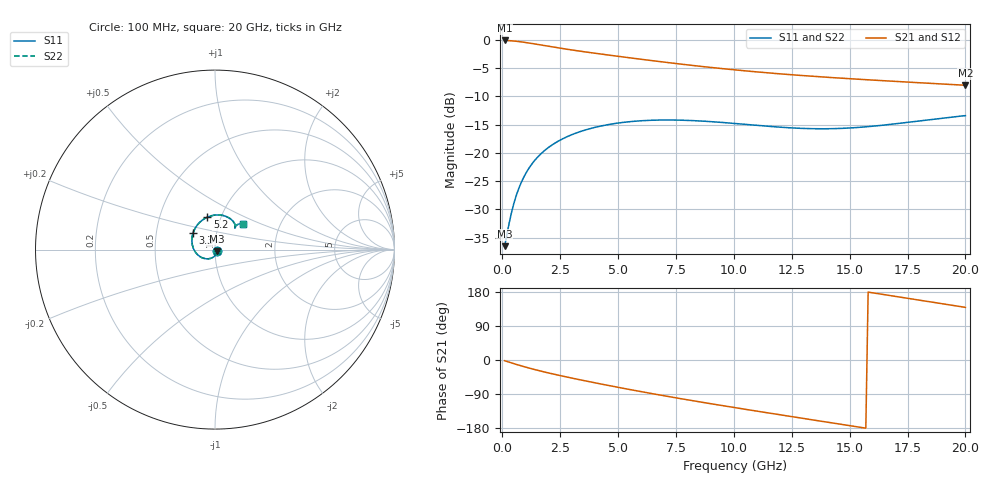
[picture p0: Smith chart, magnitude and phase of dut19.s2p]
! Created with skrf 1.9.0 (http://scikit-rf.org).
# GHz S RI R 50.0
!freq ReS11 ImS11 ReS21 ImS21 ReS12 ImS12 ReS22 ImS22
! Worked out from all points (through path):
!   200 points, 100 MHz to 20 GHz, reference 50 ohm
!   highest |S21| = -0.12 dB at 100 MHz (marker M1); lowest = -8.0 dB at 20 GHz (marker M2)
!   group delay of S21, straight-line fit = 29.1 ps
!   lowest |S11| = -36.5 dB at 100 MHz (marker M3), VSWR 1.03, Z = 51.3 - j0.803 ohm
!   |S11| at or under -10 dB: start of sweep to end of sweep
!   |S22| runs from -36.5 to -13.4 dB; largest |S21 - S12| = 2.4e-15
!   S11 on the Smith chart (normalised r, x): 100 MHz: 1.03, -0.02; 3.3 GHz: 0.77, +0.14; 5.2 GHz: 0.86, +0.32; 20 GHz: 1.31, +0.39
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0.1  0.0127 -0.00783  0.9856 -0.0337  0.9856 -0.0337  0.0127 -0.00783
0.4  0.00347 -0.0296  0.9701 -0.1323  0.9701 -0.1323  0.00347 -0.0296
0.6  -0.00824 -0.0409  0.9509 -0.1939  0.9509 -0.1939  -0.00824 -0.0409
0.8  -0.0231 -0.0484  0.926 -0.251  0.926 -0.251  -0.0231 -0.0484
1.1  -0.0482 -0.0513  0.8812 -0.3271  0.8812 -0.3271  -0.0482 -0.0513
1.5  -0.0808 -0.0408  0.8131 -0.4113  0.8131 -0.4113  -0.0808 -0.0408
2  -0.1113 -0.011  0.7236 -0.4927  0.7236 -0.4927  -0.1113 -0.011
2.6  -0.1279 0.0359  0.6166 -0.5647  0.6166 -0.5647  -0.1279 0.0359
3.3  -0.1229 0.0903  0.4952 -0.6231  0.4952 -0.6231  -0.1229 0.0903
3.5  -0.1178 0.1043  0.4613 -0.6356  0.4613 -0.6356  -0.1178 0.1043
4.3  -0.0867 0.1501  0.3291 -0.6692  0.3291 -0.6692  -0.0867 0.1501
5.2  -0.0418 0.181  0.1893 -0.6794  0.1893 -0.6794  -0.0418 0.181
6  -0.00165 0.1922  0.0756 -0.6678  0.0756 -0.6678  -0.00165 0.1922
6.8  0.0339 0.192  -0.0264 -0.6407  -0.0264 -0.6407  0.0339 0.192
8.4  0.0843 0.1726  -0.1932 -0.5544  -0.1932 -0.5544  0.0843 0.1726
10.1  0.1089 0.1452  -0.3194 -0.4358  -0.3194 -0.4358  0.1089 0.1452
11.7  0.1139 0.1267  -0.3968 -0.3128  -0.3968 -0.3128  0.1139 0.1267
13.4  0.1115 0.1197  -0.4408 -0.1783  -0.4408 -0.1783  0.1115 0.1197
15  0.1106 0.1236  -0.4494 -0.0535  -0.4494 -0.0535  0.1106 0.1236
16.7  0.1174 0.1338  -0.4257 0.0708  -0.4257 0.0708  0.1174 0.1338
18.3  0.1331 0.1425  -0.3756 0.1735  -0.3756 0.1735  0.1331 0.1425
20  0.1575 0.1439  -0.2983 0.2603  -0.2983 0.2603  0.1575 0.1439
